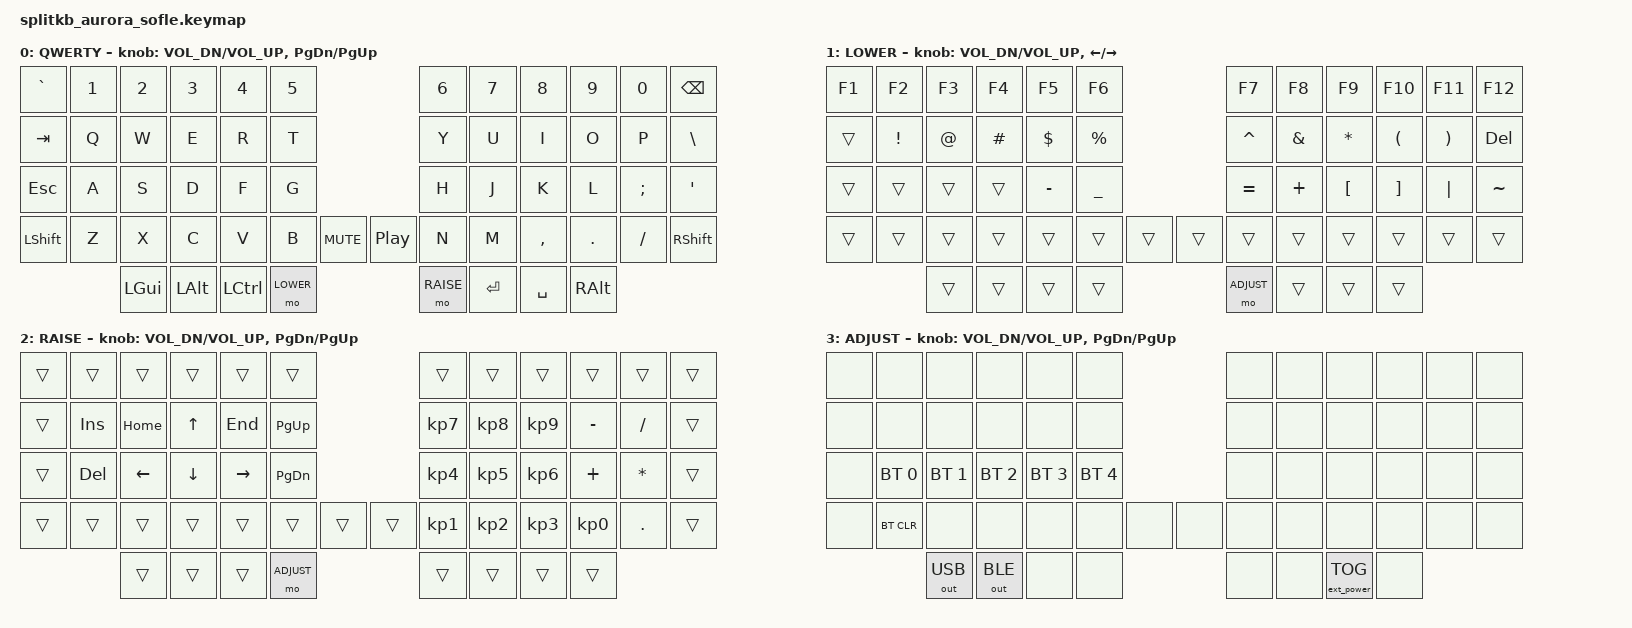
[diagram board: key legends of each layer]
// ============================================================
//  Aurora Sofle v2 — ZMK Keymap
//  Board:  splitkb Aurora Sofle (left + right + dongle)
//  Layers: 0 QWERTY  1 LOWER  2 RAISE  3 ADJUST
// ============================================================

#include <behaviors.dtsi>
#include <dt-bindings/zmk/bt.h>
#include <dt-bindings/zmk/ext_power.h>
#include <dt-bindings/zmk/keys.h>
#include <dt-bindings/zmk/outputs.h>

// ── Layer indices ────────────────────────────────────────────
#define QWERTY  0
#define LOWER   1
#define RAISE   2
#define ADJUST  3

// ── Convenience aliases ──────────────────────────────────────
#define XXXXXXX &none
#define _______ &trans

/ {
    // ── Combos ──────────────────────────────────────────────
    combos {
        compatible = "zmk,combos";

        // Press both encoder buttons together to toggle ZMK Studio unlock
        combo_studio_unlock {
            timeout-ms = <50>;
            key-positions = <52 57>;   // left-enc + right-enc
            bindings = <&studio_unlock>;
        };
    };

    // ── Behaviors ───────────────────────────────────────────
    behaviors {
        rot_kp: sensor_rotate_kp {
            compatible = "zmk,behavior-sensor-rotate-var";
            #sensor-binding-cells = <2>;
            bindings = <&kp>, <&kp>;
        };
    };

    // ── Keymap ──────────────────────────────────────────────
    keymap {
        compatible = "zmk,keymap";

        // ── Layer 0 — QWERTY ────────────────────────────────
        // ┌─────┬─────┬─────┬─────┬─────┬─────┐                    ┌─────┬─────┬─────┬─────┬─────┬─────┐
        // │  `  │  1  │  2  │  3  │  4  │  5  │                    │  6  │  7  │  8  │  9  │  0  │BSPC │
        // ├─────┼─────┼─────┼─────┼─────┼─────┤                    ├─────┼─────┼─────┼─────┼─────┼─────┤
        // │ TAB │  Q  │  W  │  E  │  R  │  T  │                    │  Y  │  U  │  I  │  O  │  P  │  \  │
        // ├─────┼─────┼─────┼─────┼─────┼─────┤                    ├─────┼─────┼─────┼─────┼─────┼─────┤
        // │ ESC │  A  │  S  │  D  │  F  │  G  │                    │  H  │  J  │  K  │  L  │  ;  │  '  │
        // ├─────┼─────┼─────┼─────┼─────┼─────┼─────┐    ┌─────┬──┴─────┼─────┼─────┼─────┼─────┼─────┤
        // │SHFT │  Z  │  X  │  C  │  V  │  B  │MUTE │    │PLAY │  N  │  M  │  ,  │  .  │  /  │SHFT │
        // └─────┴─────┴─────┼─────┼─────┼─────┼─────┘    └─────┼─────┼─────┼─────┼─────┴─────┴─────┘
        //                   │ GUI │ ALT │CTRL │LOWR │    │RAIS │ENTR │ SPC │ ALT │
        //                   └─────┴─────┴─────┴─────┘    └─────┴─────┴─────┴─────┘
        qwerty_layer {
            display-name = "QWERTY";
            bindings = <
                &kp GRAVE  &kp N1    &kp N2    &kp N3    &kp N4    &kp N5                              &kp N6    &kp N7    &kp N8    &kp N9    &kp N0    &kp BSPC
                &kp TAB    &kp Q     &kp W     &kp E     &kp R     &kp T                               &kp Y     &kp U     &kp I     &kp O     &kp P     &kp BSLH
                &kp ESC    &kp A     &kp S     &kp D     &kp F     &kp G                               &kp H     &kp J     &kp K     &kp L     &kp SEMI  &kp SQT
                &kp LSHFT  &kp Z     &kp X     &kp C     &kp V     &kp B     &kp C_MUTE    &kp C_PP   &kp N     &kp M     &kp COMMA &kp DOT   &kp FSLH  &kp RSHFT
                                     &kp LGUI  &kp LALT  &kp LCTRL &mo LOWER                           &mo RAISE &kp RET   &kp SPACE &kp RALT
            >;
            sensor-bindings = <&rot_kp C_VOL_DN C_VOL_UP &rot_kp PG_DN PG_UP>;
        };

        // ── Layer 1 — LOWER  (symbols & F-keys) ─────────────
        lower_layer {
            display-name = "LOWER";
            bindings = <
                &kp F1     &kp F2    &kp F3    &kp F4    &kp F5    &kp F6                              &kp F7    &kp F8    &kp F9    &kp F10   &kp F11   &kp F12
                _______    &kp EXCL  &kp AT    &kp HASH  &kp DLLR  &kp PRCNT                           &kp CARET &kp AMPS  &kp STAR  &kp LPAR  &kp RPAR  &kp DEL
                _______    _______   _______   _______   &kp MINUS &kp UNDER                           &kp EQUAL &kp PLUS  &kp LBKT  &kp RBKT  &kp PIPE  &kp TILDE
                _______    _______   _______   _______   _______   _______   _______       _______     _______   _______   _______   _______   _______   _______
                                     _______   _______   _______   _______                             &mo ADJUST _______  _______   _______
            >;
            sensor-bindings = <&rot_kp C_VOL_DN C_VOL_UP &rot_kp LEFT RIGHT>;
        };

        // ── Layer 2 — RAISE  (navigation & numpad) ──────────
        raise_layer {
            display-name = "RAISE";
            bindings = <
                _______    _______   _______   _______   _______   _______                             _______   _______   _______   _______   _______   _______
                _______    &kp INS   &kp HOME  &kp UP    &kp END   &kp PG_UP                           &kp KP_N7 &kp KP_N8 &kp KP_N9 &kp MINUS &kp FSLH  _______
                _______    &kp DEL   &kp LEFT  &kp DOWN  &kp RIGHT &kp PG_DN                           &kp KP_N4 &kp KP_N5 &kp KP_N6 &kp PLUS  &kp STAR  _______
                _______    _______   _______   _______   _______   _______   _______       _______     &kp KP_N1 &kp KP_N2 &kp KP_N3 &kp KP_N0 &kp DOT   _______
                                     _______   _______   _______   &mo ADJUST                          _______   _______   _______   _______
            >;
            sensor-bindings = <&rot_kp C_VOL_DN C_VOL_UP &rot_kp PG_DN PG_UP>;
        };

        // ── Layer 3 — ADJUST  (BT, output, power) ───────────
        adjust_layer {
            display-name = "ADJUST";
            bindings = <
                XXXXXXX    XXXXXXX   XXXXXXX   XXXXXXX   XXXXXXX   XXXXXXX                             XXXXXXX   XXXXXXX   XXXXXXX   XXXXXXX   XXXXXXX   XXXXXXX
                XXXXXXX    XXXXXXX   XXXXXXX   XXXXXXX   XXXXXXX   XXXXXXX                             XXXXXXX   XXXXXXX   XXXXXXX   XXXXXXX   XXXXXXX   XXXXXXX
                XXXXXXX    &bt BT_SEL 0 &bt BT_SEL 1 &bt BT_SEL 2 &bt BT_SEL 3 &bt BT_SEL 4          XXXXXXX   XXXXXXX   XXXXXXX   XXXXXXX   XXXXXXX   XXXXXXX
                XXXXXXX    &bt BT_CLR  XXXXXXX   XXXXXXX   XXXXXXX   XXXXXXX   XXXXXXX    XXXXXXX     XXXXXXX   XXXXXXX   XXXXXXX   XXXXXXX   XXXXXXX   XXXXXXX
                                     &out OUT_USB &out OUT_BLE XXXXXXX XXXXXXX                         XXXXXXX   XXXXXXX   &ext_power EP_TOG XXXXXXX
            >;
            sensor-bindings = <&rot_kp C_VOL_DN C_VOL_UP &rot_kp PG_DN PG_UP>;
        };
    };
};
